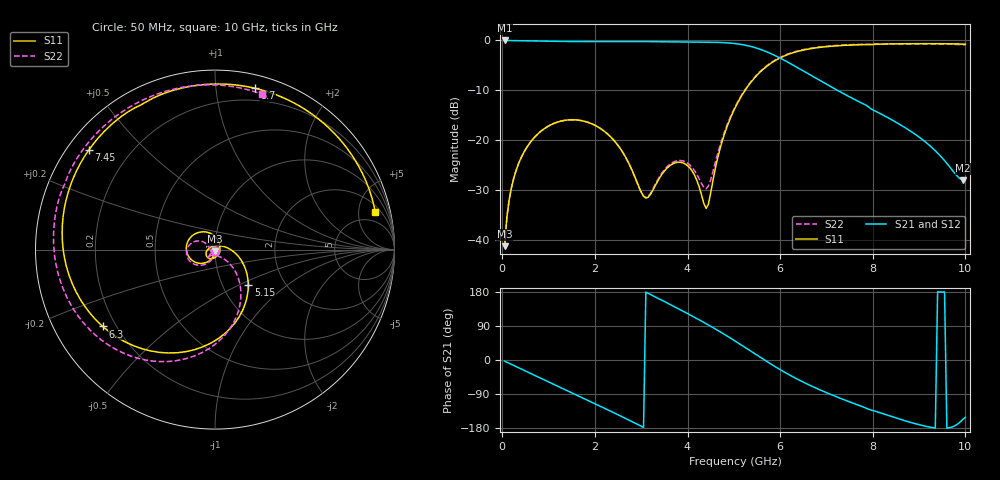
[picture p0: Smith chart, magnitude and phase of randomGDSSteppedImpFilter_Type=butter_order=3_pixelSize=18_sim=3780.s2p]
! freq	dB(S11)	phase(S11)	dB(S12)	phase(S12)
!  dB(S21)	phase(S21)	dB(S22)	phase(S22)
!S-par simulation data
#  GHz  S  DB  R 50
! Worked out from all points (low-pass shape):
!   200 points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, 50 MHz to 10 GHz, reference 50 ohm
!   highest |S21| = -0.01 dB at 50 MHz (marker M1); lowest = -28.1 dB at 9.95 GHz (marker M2)
!   |S21| within 3 dB of the highest: start of sweep to 5.884 GHz
!   lowest |S11| = -41.2 dB at 50 MHz (marker M3), VSWR 1.02, Z = 50 - j0.866 ohm
!   |S11| at or under -10 dB: start of sweep to 5.243 GHz
!   |S22| runs from -41.2 to -0.7 dB; largest |S21 - S12| = 0
!   S11 on the Smith chart (normalised r, x): 50 MHz: 1.00, -0.02; 5.15 GHz: 1.32, -0.56; 6.3 GHz: 0.15, -0.30; 7.45 GHz: 0.06, +0.35; 8.7 GHz: 0.10, +1.27; 10 GHz: 2.82, +7.51
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0.05  -41.24 -91.4  -0.01 -3.0  -0.01 -3.0  -41.24 -90.9
0.2  -29.42 -102.4  -0.02 -11.7  -0.02 -11.7  -29.41 -100.5
0.5  -21.88 -121.8  -0.07 -29.1  -0.07 -29.1  -21.86 -117.1
1.15  -16.51 -162.8  -0.18 -66.3  -0.18 -66.3  -16.50 -151.1
1.75  -16.16 158.4  -0.22 -100.6  -0.22 -100.6  -16.16 179.1
2.45  -20.46 106.3  -0.21 -141.5  -0.21 -141.5  -20.49 149.8
3.05  -31.22 7.9  -0.22 -177.8  -0.22 -177.8  -31.21 178.3
3.4  -27.50 -86.2  -0.26 160.6  -0.26 160.6  -27.23 -131.2
3.95  -24.76 -149.0  -0.32 125.8  -0.32 125.8  -24.32 -134.9
4.4  -33.68 106.5  -0.34 95.9  -0.34 95.9  -29.73 -94.3
4.75  -20.14 -4.3  -0.43 71.1  -0.43 71.1  -19.64 -43.8
5.05  -13.09 -36.8  -0.66 48.3  -0.66 48.3  -12.89 -53.0
5.15  -11.39 -46.5  -0.79 40.5  -0.79 40.5  -11.22 -58.4
5.45  -7.48 -74.7  -1.42 16.6  -1.42 16.6  -7.35 -76.9
5.8  -4.58 -105.8  -2.64 -10.7  -2.64 -10.7  -4.46 -100.1
6.3  -2.40 -145.6  -5.05 -45.9  -5.05 -45.9  -2.30 -130.9
6.7  -1.59 -173.3  -7.19 -70.0  -7.19 -70.0  -1.49 -152.1
7.45  -0.96 141.6  -11.07 -108.2  -11.07 -108.2  -0.88 174.5
8.35  -0.71 93.8  -15.60 -147.0  -15.60 -147.0  -0.69 139.7
8.7  -0.67 76.1  -17.50 -160.5  -17.50 -160.5  -0.67 126.5
9.95  -0.74 15.6  -28.06 -156.0  -28.06 -156.0  -0.85 75.5
10  -0.75 13.3  -28.04 -151.2  -28.04 -151.2  -0.87 73.3
